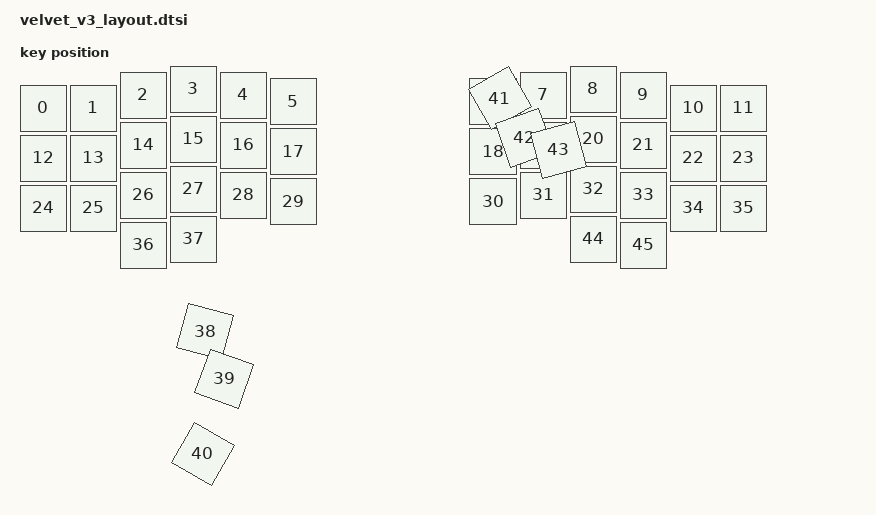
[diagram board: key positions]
#include <physical_layouts.dtsi>

/ {
    physical_layout: physical_layout {
        compatible = "zmk,physical-layout";
        display-name = "Velvet v3";

        kscan = <&kscan0>;
        transform = <&default_transform>;

        keys  //                     w   h    x    y     rot    rx    ry
            = <&key_physical_attrs 100 100    0   38       0     0     0>
            , <&key_physical_attrs 100 100  100   38       0     0     0>
            , <&key_physical_attrs 100 100  200   12       0     0     0>
            , <&key_physical_attrs 100 100  300    0       0     0     0>
            , <&key_physical_attrs 100 100  400   12       0     0     0>
            , <&key_physical_attrs 100 100  500   25       0     0     0>
            , <&key_physical_attrs 100 100  900   25       0     0     0>
            , <&key_physical_attrs 100 100 1000   12       0     0     0>
            , <&key_physical_attrs 100 100 1100    0       0     0     0>
            , <&key_physical_attrs 100 100 1200   12       0     0     0>
            , <&key_physical_attrs 100 100 1300   38       0     0     0>
            , <&key_physical_attrs 100 100 1400   38       0     0     0>
            , <&key_physical_attrs 100 100    0  138       0     0     0>
            , <&key_physical_attrs 100 100  100  138       0     0     0>
            , <&key_physical_attrs 100 100  200  112       0     0     0>
            , <&key_physical_attrs 100 100  300  100       0     0     0>
            , <&key_physical_attrs 100 100  400  112       0     0     0>
            , <&key_physical_attrs 100 100  500  125       0     0     0>
            , <&key_physical_attrs 100 100  900  125       0     0     0>
            , <&key_physical_attrs 100 100 1000  112       0     0     0>
            , <&key_physical_attrs 100 100 1100  100       0     0     0>
            , <&key_physical_attrs 100 100 1200  112       0     0     0>
            , <&key_physical_attrs 100 100 1300  138       0     0     0>
            , <&key_physical_attrs 100 100 1400  138       0     0     0>
            , <&key_physical_attrs 100 100    0  238       0     0     0>
            , <&key_physical_attrs 100 100  100  238       0     0     0>
            , <&key_physical_attrs 100 100  200  212       0     0     0>
            , <&key_physical_attrs 100 100  300  200       0     0     0>
            , <&key_physical_attrs 100 100  400  212       0     0     0>
            , <&key_physical_attrs 100 100  500  225       0     0     0>
            , <&key_physical_attrs 100 100  900  225       0     0     0>
            , <&key_physical_attrs 100 100 1000  212       0     0     0>
            , <&key_physical_attrs 100 100 1100  200       0     0     0>
            , <&key_physical_attrs 100 100 1200  212       0     0     0>
            , <&key_physical_attrs 100 100 1300  238       0     0     0>
            , <&key_physical_attrs 100 100 1400  238       0     0     0>
            , <&key_physical_attrs 100 100  200  312       0     0     0>
            , <&key_physical_attrs 100 100  300  300       0     0     0>
            , <&key_physical_attrs 100 100  450  370    1500     0     0>
            , <&key_physical_attrs 100 100  553  400    2000     0     0>
            , <&key_physical_attrs 100 100  660  440    3000     0     0>
            , <&key_physical_attrs 100 100  750  491 (-3000)     0     0>
            , <&key_physical_attrs 100 100  852  435 (-2000)     0     0>
            , <&key_physical_attrs 100 100  950  396 (-1500)     0     0>
            , <&key_physical_attrs 100 100 1100  300       0     0     0>
            , <&key_physical_attrs 100 100 1200  312       0     0     0>
            ;
    };
};
